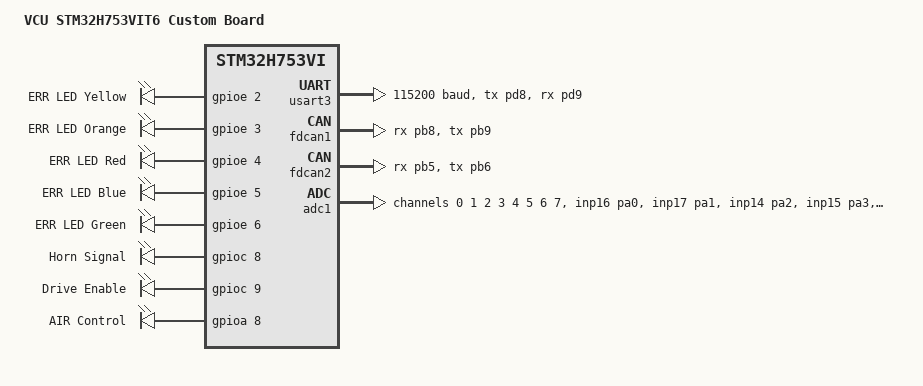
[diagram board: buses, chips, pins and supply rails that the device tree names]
/*
 * Copyright (c) 2025 VCU Team
 * SPDX-License-Identifier: Apache-2.0
 */

/dts-v1/;
#include <st/h7/stm32h753Xi.dtsi>
#include <st/h7/stm32h753zitx-pinctrl.dtsi>
#include <zephyr/dt-bindings/input/input-event-codes.h>

/ {
	model = "VCU STM32H753VIT6 Custom Board";
	compatible = "st,stm32h753vi";

	chosen {
		zephyr,console = &usart3;
		zephyr,shell-uart = &usart3;
		zephyr,sram = &sram0;
		zephyr,flash = &flash0;
		zephyr,dtcm = &dtcm;
		zephyr,canbus = &fdcan1;
	};

	leds {
		compatible = "gpio-leds";
		err_led_yellow: led_0 {
			gpios = <&gpioe 2 GPIO_ACTIVE_HIGH>;
			label = "ERR LED Yellow";
		};
		err_led_orange: led_1 {
			gpios = <&gpioe 3 GPIO_ACTIVE_HIGH>;
			label = "ERR LED Orange";
		};
		err_led_red: led_2 {
			gpios = <&gpioe 4 GPIO_ACTIVE_HIGH>;
			label = "ERR LED Red";
		};
		err_led_blue: led_3 {
			gpios = <&gpioe 5 GPIO_ACTIVE_HIGH>;
			label = "ERR LED Blue";
		};
		err_led_green: led_4 {
			gpios = <&gpioe 6 GPIO_ACTIVE_HIGH>;
			label = "ERR LED Green";
		};
	};

	vcu_signals {
		compatible = "gpio-leds";
		horn_signal: horn_sig {
			gpios = <&gpioc 8 GPIO_ACTIVE_HIGH>;
			label = "Horn Signal";
		};
		drive_enable: drive_en {
			gpios = <&gpioc 9 GPIO_ACTIVE_HIGH>;
			label = "Drive Enable";
		};
		air_ctrl: air_control {
			gpios = <&gpioa 8 GPIO_ACTIVE_HIGH>;
			label = "AIR Control";
		};
	};

	aliases {
		led0 = &err_led_yellow;
		led1 = &err_led_orange;
		led2 = &err_led_red;
		led3 = &err_led_blue;
		led4 = &err_led_green;
		horn = &horn_signal;
		drive-enable = &drive_enable;
		air-ctrl = &air_ctrl;
	};
};

// &clk_lse {
// 	status = "okay";
// };




&clk_hsi {
	status = "okay";
};

&pll {
    div-m = <16>;     // 64 MHz / 16 = 4 MHz (same as Nucleo!)
    mul-n = <240>;    // 4 MHz × 240 = 960 MHz VCO ✓
    div-p = <2>;      // 960 / 2 = 480 MHz ✓
    div-q = <2>;      // 960 / 2 = 480 MHz
    div-r = <2>;      // 960 / 2 = 480 MHz
    clocks = <&clk_hsi>;  // ← Changed from HSE to HSI
    status = "okay";
};

&pll2 {
    div-m = <32>;     // 64 MHz / 32 = 2 MHz
    mul-n = <120>;    // 2 MHz × 120 = 240 MHz VCO
    div-p = <2>;      // 240 / 2 = 120 MHz
    div-q = <3>;      // 240 / 3 = 80 MHz (for FDCAN) ✓
    div-r = <2>;      // 240 / 2 = 120 MHz
    clocks = <&clk_hsi>;  // ← Changed from HSE to HSI
    status = "okay";
};

&rcc {
    clocks = <&pll>;
    clock-frequency = <DT_FREQ_M(480)>;
    d1cpre = <1>;
    hpre = <2>;
    d1ppre = <2>;
    d2ppre1 = <2>;
    d2ppre2 = <2>;
    d3ppre = <2>;
};

/* Enable GPIO ports */
&gpioa {
	status = "okay";
};

&gpiob {
	status = "okay";
};

&gpioc {
	status = "okay";
};

&gpiod {
	status = "okay";
};

&gpioe {
	status = "okay";
};

&usart3 {
	pinctrl-0 = <&usart3_tx_pd8 &usart3_rx_pd9>;
	pinctrl-names = "default";
	current-speed = <115200>;
	status = "okay";
};

&fdcan1 {
	pinctrl-0 = <&fdcan1_rx_pb8 &fdcan1_tx_pb9>;
	pinctrl-names = "default";
	status = "okay";
};

&fdcan2 {
	pinctrl-0 = <&fdcan2_rx_pb5 &fdcan2_tx_pb6>;
	pinctrl-names = "default";
	status = "okay";
};

&adc1 {
	pinctrl-0 = <&adc1_inp16_pa0 &adc1_inp17_pa1 
	             &adc1_inp14_pa2 &adc1_inp15_pa3
	             &adc1_inp18_pa4 &adc1_inp19_pa5
	             &adc1_inp3_pa6 &adc1_inp7_pa7>;
	pinctrl-names = "default";
	st,adc-clock-source = "SYNC";
	st,adc-prescaler = <4>;
	vref-mv = <3300>;
	status = "okay";

	#address-cells = <1>;
	#size-cells = <0>;

	channel@0 {
		reg = <0>;
		zephyr,gain = "ADC_GAIN_1";
		zephyr,reference = "ADC_REF_VDD_1";
		zephyr,acquisition-time = <ADC_ACQ_TIME_DEFAULT>;
		zephyr,resolution = <12>;
		zephyr,input-positive = <16>;  /* PA0 - INP16 */
	};

	channel@1 {
		reg = <1>;
		zephyr,gain = "ADC_GAIN_1";
		zephyr,reference = "ADC_REF_VDD_1";
		zephyr,acquisition-time = <ADC_ACQ_TIME_DEFAULT>;
		zephyr,resolution = <12>;
		zephyr,input-positive = <17>;  /* PA1 - INP17 */
	};

	channel@2 {
		reg = <2>;
		zephyr,gain = "ADC_GAIN_1";
		zephyr,reference = "ADC_REF_VDD_1";
		zephyr,acquisition-time = <ADC_ACQ_TIME_DEFAULT>;
		zephyr,resolution = <12>;
		zephyr,input-positive = <14>;  /* PA2 - INP14 */
	};

	channel@3 {
		reg = <3>;
		zephyr,gain = "ADC_GAIN_1";
		zephyr,reference = "ADC_REF_VDD_1";
		zephyr,acquisition-time = <ADC_ACQ_TIME_DEFAULT>;
		zephyr,resolution = <12>;
		zephyr,input-positive = <15>;  /* PA3 - INP15 */
	};

	channel@4 {
		reg = <4>;
		zephyr,gain = "ADC_GAIN_1";
		zephyr,reference = "ADC_REF_VDD_1";
		zephyr,acquisition-time = <ADC_ACQ_TIME_DEFAULT>;
		zephyr,resolution = <12>;
		zephyr,input-positive = <18>;  /* PA4 - INP18 */
	};

	channel@5 {
		reg = <5>;
		zephyr,gain = "ADC_GAIN_1";
		zephyr,reference = "ADC_REF_VDD_1";
		zephyr,acquisition-time = <ADC_ACQ_TIME_DEFAULT>;
		zephyr,resolution = <12>;
		zephyr,input-positive = <19>;  /* PA5 - INP19 */
	};

	channel@6 {
		reg = <6>;
		zephyr,gain = "ADC_GAIN_1";
		zephyr,reference = "ADC_REF_VDD_1";
		zephyr,acquisition-time = <ADC_ACQ_TIME_DEFAULT>;
		zephyr,resolution = <12>;
		zephyr,input-positive = <3>;   /* PA6 - INP3 */
	};

	channel@7 {
		reg = <7>;
		zephyr,gain = "ADC_GAIN_1";
		zephyr,reference = "ADC_REF_VDD_1";
		zephyr,acquisition-time = <ADC_ACQ_TIME_DEFAULT>;
		zephyr,resolution = <12>;
		zephyr,input-positive = <7>;   /* PA7 - INP7 */
	};
};
&pinctrl {
    adc1_inp16_pa0: adc1_inp16_pa0 {
        pinmux = <STM32_PINMUX('A', 0, ANALOG)>;
    };
    adc1_inp17_pa1: adc1_inp17_pa1 {
        pinmux = <STM32_PINMUX('A', 1, ANALOG)>;
    };
    adc1_inp14_pa2: adc1_inp14_pa2 {
        pinmux = <STM32_PINMUX('A', 2, ANALOG)>;
    };
    adc1_inp15_pa3: adc1_inp15_pa3 {
        pinmux = <STM32_PINMUX('A', 3, ANALOG)>;
    };
    adc1_inp18_pa4: adc1_inp18_pa4 {
        pinmux = <STM32_PINMUX('A', 4, ANALOG)>;
    };
    adc1_inp19_pa5: adc1_inp19_pa5 {
        pinmux = <STM32_PINMUX('A', 5, ANALOG)>;
    };
    adc1_inp3_pa6: adc1_inp3_pa6 {
        pinmux = <STM32_PINMUX('A', 6, ANALOG)>;
    };
    adc1_inp7_pa7: adc1_inp7_pa7 {
        pinmux = <STM32_PINMUX('A', 7, ANALOG)>;
    };
};

&flash0 {
	partitions {
		compatible = "fixed-partitions";
		#address-cells = <1>;
		#size-cells = <1>;

		boot_partition: partition@0 {
			label = "mcuboot";
			reg = <0x00000000 DT_SIZE_K(128)>;
		};
		slot0_partition: partition@20000 {
			label = "image-0";
			reg = <0x00020000 DT_SIZE_K(448)>;
		};
		slot1_partition: partition@90000 {
			label = "image-1";
			reg = <0x00090000 DT_SIZE_K(448)>;
		};
		storage_partition: partition@100000 {
			label = "storage";
			reg = <0x00100000 DT_SIZE_K(1024)>;
		};
	};
};


